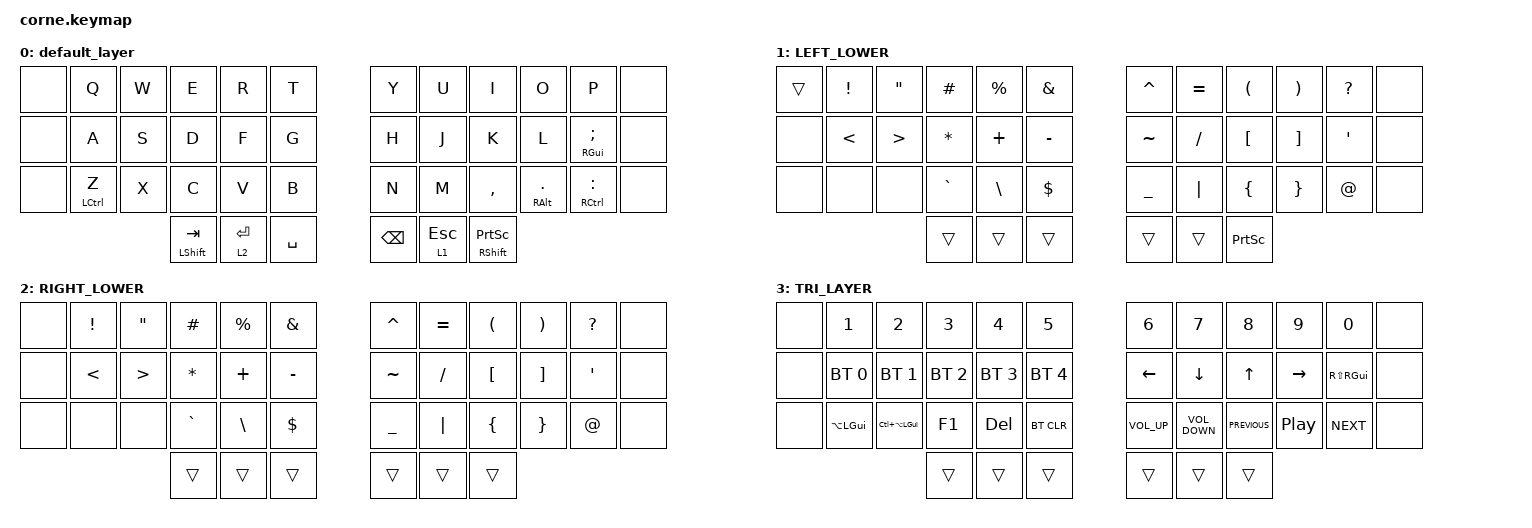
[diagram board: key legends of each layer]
/*
 * Copyright (c) 2020 The ZMK Contributors
 *
 * SPDX-License-Identifier: MIT
 */

#include <behaviors.dtsi>
#include <dt-bindings/zmk/bt.h>
#include <dt-bindings/zmk/keys.h>

/ {
    macros {
        ae: ae {
            compatible = "zmk,behavior-macro";
            #binding-cells = <0>;
            bindings =
                <&macro_wait_time 40>,
                <&macro_press>,
                <&kp LEFT_ALT>,
                <&macro_tap_time 40>,
                <&macro_tap>,
                <&kp KP_N0 &kp KP_N2 &kp KP_N3 &kp KP_N0>,
                <&macro_release>;

            label = "AE";
        };
    };

    keymap {
        compatible = "zmk,keymap";

        default_layer {
            // -----------------------------------------------------------------------------------------
            // |  TAB |  Q  |  W  |  E  |  R  |  T  |   |  Y  |  U   |  I  |  O  |  P  | BKSP |
            // | CTRL |  A  |  S  |  D  |  F  |  G  |   |  H  |  J   |  K  |  L  |  ;  |  '   |
            // | SHFT |  Z  |  X  |  C  |  V  |  B  |   |  N  |  M   |  ,  |  .  |  /  | ESC  |
            //                    | GUI | LWR | SPC |   | ENT | RSE  | ALT |

            bindings = <
&none  &kp Q        &kp W  &kp E               &kp R        &kp T        &kp Y          &kp U         &kp I                  &kp O              &kp P                    &none
&none  &kp A        &kp S  &kp D               &kp F        &kp G        &kp H          &kp J         &kp K                  &kp L              &mt RIGHT_GUI SEMI       &none
&none  &mt LCTRL Z  &kp X  &kp C               &kp V        &kp B        &kp N          &kp M         &kp COMMA              &mt RIGHT_ALT DOT  &mt RIGHT_CONTROL COLON  &none
                           &mt LEFT_SHIFT TAB  &lt 2 ENTER  &kp SPACE    &kp BACKSPACE  &lt 1 ESCAPE  &mt RIGHT_SHIFT PSCRN
            >;
        };

        LEFT_LOWER {
            // -----------------------------------------------------------------------------------------
            // |  TAB |  !  |  @  |  #  |  $  |  %  |   |  ^  |  &  |  *  |  (  |  )  | BKSP |
            // | CTRL |     |     |     |     |     |   |  -  |  =  |  [  |  ]  |  \  |  `   |
            // | SHFT |     |     |     |     |     |   |  _  |  +  |  {  |  }  | "|" |  ~   |
            //                    | GUI |     | SPC |   | ENT |     | ALT |

            bindings = <
&trans  &kp EXCLAMATION  &kp DOUBLE_QUOTES  &kp HASH      &kp PERCENT    &kp AMPS      &kp CARET  &kp EQUAL  &kp LEFT_PARENTHESIS  &kp RIGHT_PARENTHESIS  &kp QUESTION  &none
&none   &kp LESS_THAN    &kp GREATER_THAN   &kp ASTERISK  &kp PLUS       &kp MINUS     &kp TILDE  &kp SLASH  &kp LBKT              &kp RBKT               &kp SQT       &none
&none   &none            &none              &kp GRAVE     &kp BACKSLASH  &kp DOLLAR    &kp UNDER  &kp PIPE   &kp LBRC              &kp RBRC               &kp AT_SIGN   &none
                                            &trans        &trans         &trans        &trans     &trans     &kp PRINTSCREEN
            >;
        };

        RIGHT_LOWER {
            bindings = <
&none  &kp EXCLAMATION  &kp DOUBLE_QUOTES  &kp HASH      &kp PERCENT    &kp AMPS      &kp CARET  &kp EQUAL  &kp LEFT_PARENTHESIS  &kp RIGHT_PARENTHESIS  &kp QUESTION  &none
&none  &kp LESS_THAN    &kp GREATER_THAN   &kp ASTERISK  &kp PLUS       &kp MINUS     &kp TILDE  &kp SLASH  &kp LBKT              &kp RBKT               &kp SQT       &none
&none  &none            &none              &kp GRAVE     &kp BACKSLASH  &kp DOLLAR    &kp UNDER  &kp PIPE   &kp LBRC              &kp RBRC               &kp AT_SIGN   &none
                                           &trans        &trans         &trans        &trans     &trans     &trans
            >;
        };

        TRI_LAYER {
            // -----------------------------------------------------------------------------------------
            // |  TAB |  1  |  2  |  3  |  4  |  5  |   |  6  |  7  |  8  |  9  |  0  | BKSP |
            // | BTCLR| BT1 | BT2 | BT3 | BT4 | BT5 |   | LFT | DWN |  UP | RGT |     |      |
            // | SHFT |     |     |     |     |     |   |     |     |     |     |     |      |
            //                    | GUI |     | SPC |   | ENT |     | ALT |

            bindings = <
&none  &kp N1            &kp N2                &kp N3        &kp N4        &kp N5          &kp N6           &kp N7             &kp N8          &kp N9            &kp N0             &none
&none  &bt BT_SEL 0      &bt BT_SEL 1          &bt BT_SEL 2  &bt BT_SEL 3  &bt BT_SEL 4    &kp LEFT         &kp DOWN           &kp UP          &kp RIGHT         &kp RS(RIGHT_GUI)  &none
&none  &kp LA(LEFT_GUI)  &kp LC(LA(LEFT_GUI))  &kp F1        &kp DEL       &bt BT_CLR      &kp C_VOLUME_UP  &kp C_VOLUME_DOWN  &kp C_PREVIOUS  &kp C_PLAY_PAUSE  &kp C_NEXT         &none
                                               &trans        &trans        &trans          &trans           &trans             &trans
            >;
        };
    };

    conditional_layers {
        compatible = "zmk,conditional-layers";

        TRI {
            if-layers = <1 2>;
            then-layer = <3>;
        };
    };
};
